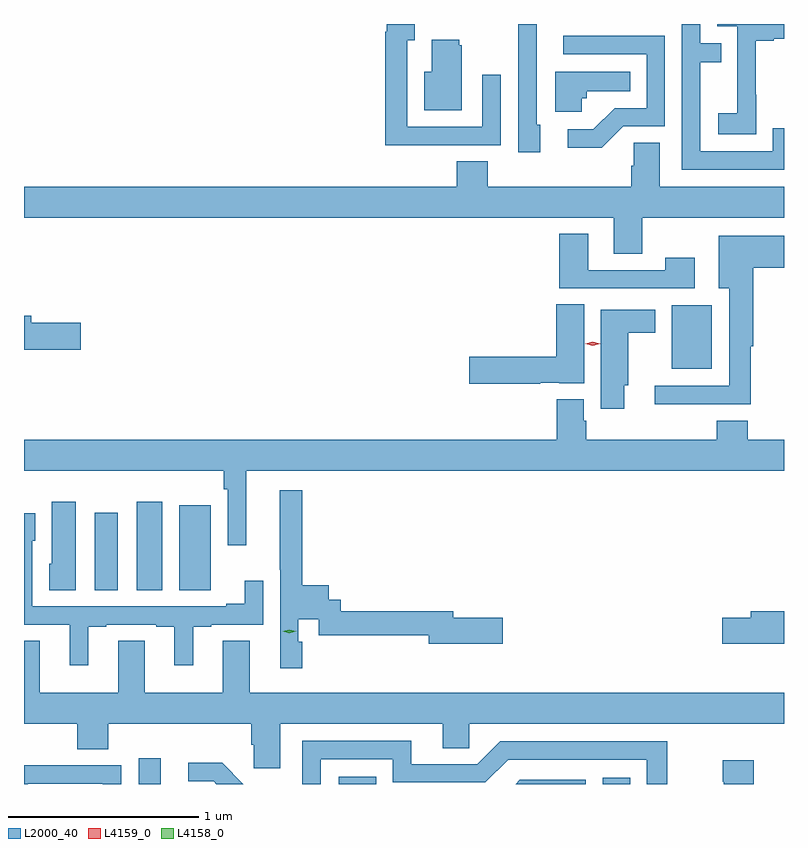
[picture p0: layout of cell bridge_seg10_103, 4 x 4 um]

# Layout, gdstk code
import gdstk
lib = gdstk.Library(unit=1e-6, precision=1e-09)
def R(c, l, rs):  # rectangles x0, y0, x1, y1
    for r in rs: c.add(gdstk.rectangle(r[:2], r[2:], *l))
def P(c, l, *ps):  # polygons
    for p in ps: c.add(gdstk.Polygon(p, *l))
L2000_40 = (2000, 40)
L4158_0 = (4158, 0)
L4159_0 = (4159, 0)

bridge_seg10_103 = lib.new_cell('bridge_seg10_103')
R(bridge_seg10_103, L2000_40, [(479.058,1277.356,479.173,1277.491), (480.111,1277.356,480.309,1277.395), (481.5,1277.356,481.646,1277.389), (478.826,1278.376,478.948,1278.784), (479.048,1278.376,479.182,1278.841), (479.27,1278.376,479.437,1278.823), (481.862,1279.541,482.074,1279.876)])
P(bridge_seg10_103, L2000_40, [(482.307,1280.983),(482.306,1280.983),(482.306,1281.267),(482.401,1281.267),(482.401,1281.279),(482.454,1281.279),(482.454,1281.356),(482.103,1281.356),(482.103,1281.345),(482.208,1281.345),(482.208,1281.116),(482.207,1281.116),(482.207,1280.887),(482.109,1280.887),(482.109,1280.777),(482.307,1280.777)],
  [(482.454,1280.808),(482.394,1280.808),(482.394,1280.685),(482.013,1280.685),(482.013,1281.154),(482.123,1281.154),(482.123,1281.255),(482.013,1281.255),(482.013,1281.356),(481.917,1281.356),(481.917,1280.589),(482.454,1280.589)],
  [(481.171,1280.826),(481.152,1280.826),(481.152,1281.178),(481.153,1281.178),(481.153,1281.356),(481.054,1281.356),(481.054,1281.175),(481.056,1281.175),(481.056,1280.682),(481.171,1280.682)],
  [(480.647,1280.718),(480.963,1280.718),(480.963,1281.088),(480.867,1281.088),(480.867,1280.814),(480.471,1280.814),(480.471,1281.271),(480.511,1281.271),(480.511,1281.356),(480.363,1281.356),(480.363,1281.314),(480.355,1281.314),(480.355,1280.717),(480.647,1280.717)],
  [(481.608,1280.817),(481.827,1280.817),(481.827,1281.294),(481.293,1281.294),(481.293,1281.198),(481.731,1281.198),(481.731,1280.913),(481.562,1280.913),(481.451,1280.802),(481.317,1280.802),(481.317,1280.705),(481.495,1280.705)],
  [(480.757,1281.243),(480.746,1281.243),(480.746,1281.274),(480.599,1281.274),(480.599,1281.106),(480.56,1281.106),(480.56,1280.903),(480.757,1280.903)],
  [(481.389,1280.964),(481.416,1280.964),(481.416,1281.002),(481.646,1281.002),(481.646,1281.106),(481.25,1281.106),(481.25,1280.894),(481.389,1280.894)],
  [(480.731,1280.633),(480.731,1280.5),(478.454,1280.5),(478.454,1280.336),(481.559,1280.336),(481.559,1280.146),(481.707,1280.146),(481.707,1280.336),(482.454,1280.336),(482.454,1280.5),(481.801,1280.5),(481.801,1280.732),(481.662,1280.732),(481.662,1280.609),(481.649,1280.609),(481.649,1280.5),(480.896,1280.5),(480.896,1280.633)],
  [(481.984,1280.125),(481.828,1280.125),(481.828,1280.061),(481.423,1280.061),(481.423,1280.251),(481.271,1280.251),(481.271,1279.965),(481.984,1279.965)],
  [(482.278,1279.659),(482.291,1279.659),(482.291,1280.072),(482.454,1280.072),(482.454,1280.242),(482.111,1280.242),(482.111,1279.964),(482.165,1279.964),(482.165,1279.452),(481.773,1279.452),(481.773,1279.355),(482.278,1279.355)],
  [(481.172,1279.469),(481.272,1279.469),(481.272,1279.466),(481.402,1279.466),(481.402,1279.88),(481.256,1279.88),(481.256,1279.604),(480.798,1279.604),(480.798,1279.462),(481.172,1279.462)],
  [(481.612,1279.455),(481.633,1279.455),(481.633,1279.73),(481.777,1279.73),(481.777,1279.852),(481.49,1279.852),(481.49,1279.332),(481.612,1279.332)],
  [(478.753,1279.784),(478.492,1279.784),(478.492,1279.82),(478.454,1279.82),(478.454,1279.642),(478.753,1279.642)],
  [(479.624,1279.004),(482.454,1279.004),(482.454,1279.168),(482.264,1279.168),(482.264,1279.267),(482.099,1279.267),(482.099,1279.168),(481.412,1279.168),(481.412,1279.269),(481.399,1279.269),(481.399,1279.381),(481.259,1279.381),(481.259,1279.168),(478.454,1279.168),(478.454,1279.004),(479.506,1279.004),(479.506,1278.908),(479.526,1278.908),(479.526,1278.612),(479.624,1278.612)],
  [(479.918,1278.105),(479.898,1278.105),(479.898,1278.224),(480.006,1278.224),(480.006,1278.138),(480.584,1278.138),(480.584,1278.095),(480.973,1278.095),(480.973,1278.23),(480.712,1278.23),(480.712,1278.266),(480.122,1278.266),(480.122,1278.327),(480.058,1278.327),(480.058,1278.401),(479.918,1278.401),(479.918,1278.901),(479.801,1278.901),(479.801,1278.484),(479.802,1278.484),(479.802,1277.964),(479.918,1277.964)],
  [(478.726,1278.841),(478.601,1278.841),(478.601,1278.516),(478.586,1278.516),(478.586,1278.376),(478.726,1278.376)],
  [(478.792,1278.183),(478.888,1278.183),(478.888,1278.195),(479.15,1278.195),(479.15,1278.183),(479.246,1278.183),(479.246,1277.982),(479.344,1277.982),(479.344,1278.183),(479.44,1278.183),(479.44,1278.195),(479.712,1278.195),(479.712,1278.427),(479.615,1278.427),(479.615,1278.304),(479.519,1278.304),(479.519,1278.291),(478.497,1278.291),(478.497,1278.636),(478.513,1278.636),(478.513,1278.781),(478.454,1278.781),(478.454,1278.195),(478.694,1278.195),(478.694,1277.982),(478.792,1277.982)],
  [(482.454,1278.266),(482.279,1278.266),(482.279,1278.23),(482.13,1278.23),(482.13,1278.095),(482.454,1278.095)],
  [(479.803,1277.672),(480.659,1277.672),(480.659,1277.545),(480.798,1277.545),(480.798,1277.672),(482.454,1277.672),(482.454,1277.836),(479.641,1277.836),(479.641,1278.11),(479.501,1278.11),(479.501,1277.836),(479.089,1277.836),(479.089,1278.11),(478.949,1278.11),(478.949,1277.836),(478.537,1277.836),(478.537,1278.11),(478.454,1278.11),(478.454,1277.672),(478.733,1277.672),(478.733,1277.539),(478.898,1277.539),(478.898,1277.672),(479.651,1277.672),(479.651,1277.563),(479.664,1277.563),(479.664,1277.44),(479.803,1277.44)],
  [(480.015,1277.487),(480.396,1277.487),(480.396,1277.364),(480.882,1277.364),(481.002,1277.484),(481.731,1277.484),(481.731,1277.356),(481.84,1277.356),(481.84,1277.58),(480.96,1277.58),(480.84,1277.46),(480.493,1277.46),(480.493,1277.583),(479.919,1277.583),(479.919,1277.356),(480.015,1277.356)],
  [(482.296,1277.482),(482.131,1277.482),(482.131,1277.369),(482.138,1277.369),(482.138,1277.356),(482.296,1277.356)],
  [(479.497,1277.468),(479.319,1277.468),(479.319,1277.37),(479.453,1277.37),(479.467,1277.356),(479.609,1277.356)],
  [(478.473,1277.358),(478.869,1277.358),(478.869,1277.356),(478.965,1277.356),(478.965,1277.454),(478.649,1277.454),(478.649,1277.456),(478.454,1277.456),(478.454,1277.356),(478.473,1277.356)],
  [(481.41,1277.379),(481.064,1277.379),(481.041,1277.356),(481.41,1277.356)])
P(bridge_seg10_103, L4158_0, [(479.851,1278.149),(479.816,1278.159),(479.816,1278.159),(479.816,1278.159),(479.851,1278.169),(479.886,1278.159),(479.887,1278.159),(479.886,1278.159)])
P(bridge_seg10_103, L4159_0, [(481.447,1279.663),(481.407,1279.673),(481.407,1279.673),(481.407,1279.674),(481.447,1279.683),(481.487,1279.673),(481.487,1279.673),(481.487,1279.672)])

lib.write_gds('bridge_seg10_103.gds')
